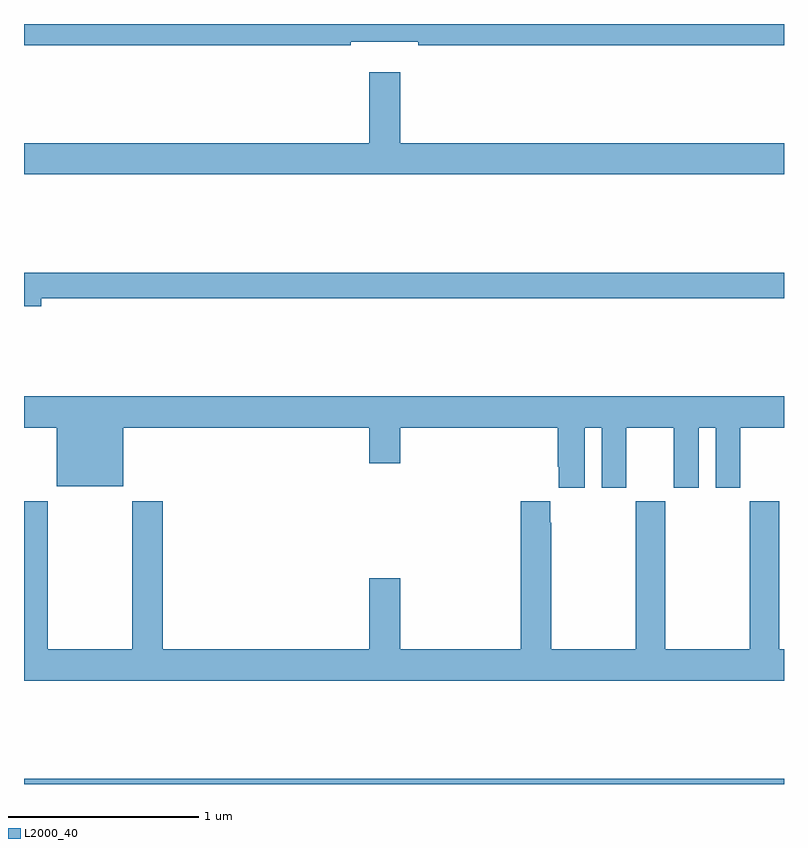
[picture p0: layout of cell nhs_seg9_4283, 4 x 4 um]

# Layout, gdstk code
import gdstk
lib = gdstk.Library(unit=1e-6, precision=1e-09)
def R(c, l, rs):  # rectangles x0, y0, x1, y1
    for r in rs: c.add(gdstk.rectangle(r[:2], r[2:], *l))
def P(c, l, *ps):  # polygons
    for p in ps: c.add(gdstk.Polygon(p, *l))
L2000_40 = (2000, 40)

nhs_seg9_4283 = lib.new_cell('nhs_seg9_4283')
R(nhs_seg9_4283, L2000_40, [(355,1238.5,359,1238.528)])
P(nhs_seg9_4283, L2000_40, [(356.72,1242.407),(357.076,1242.407),(357.076,1242.388),(359,1242.388),(359,1242.5),(355,1242.5),(355,1242.388),(356.72,1242.388)],
  [(359,1241.872),(356.98,1241.872),(356.98,1242.247),(356.816,1242.247),(356.816,1241.872),(355,1241.872),(355,1241.708),(359,1241.708)],
  [(355.09,1241.056),(359,1241.056),(359,1241.192),(355,1241.192),(355,1241.014),(355.09,1241.014)],
  [(355,1240.376),(355.172,1240.376),(355.172,1240.067),(355.522,1240.067),(355.522,1240.376),(356.816,1240.376),(356.816,1240.188),(356.98,1240.188),(356.98,1240.376),(357.809,1240.376),(357.809,1240.171),(357.815,1240.171),(357.815,1240.059),(357.952,1240.059),(357.952,1240.376),(358.04,1240.376),(358.04,1240.059),(358.171,1240.059),(358.171,1240.376),(358.421,1240.376),(358.421,1240.059),(358.552,1240.059),(358.552,1240.376),(358.64,1240.376),(358.64,1240.059),(358.771,1240.059),(358.771,1240.376),(359,1240.376),(359,1240.54),(355,1240.54)],
  [(359,1239.208),(358.974,1239.208),(358.974,1239.988),(358.819,1239.988),(358.819,1239.208),(358.374,1239.208),(358.374,1239.988),(358.219,1239.988),(358.219,1239.208),(357.774,1239.208),(357.774,1239.875),(357.769,1239.875),(357.769,1239.988),(357.614,1239.988),(357.614,1239.208),(356.98,1239.208),(356.98,1239.583),(356.816,1239.583),(356.816,1239.208),(355.73,1239.208),(355.73,1239.988),(355.57,1239.988),(355.57,1239.208),(355.125,1239.208),(355.125,1239.988),(355,1239.988),(355,1239.044),(359,1239.044)])

lib.write_gds('nhs_seg9_4283.gds')
